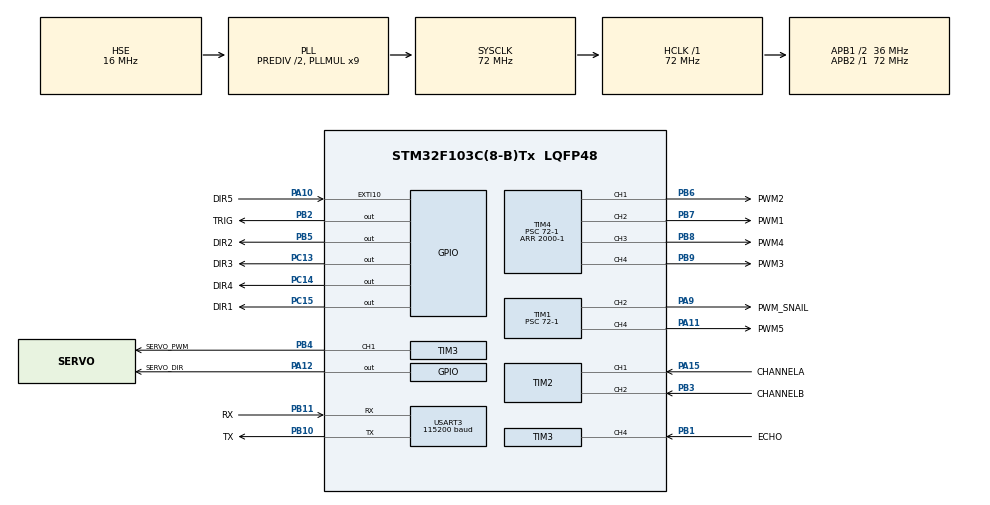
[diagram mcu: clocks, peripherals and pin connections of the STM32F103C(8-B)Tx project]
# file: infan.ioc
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Dma.Request0=USART3_RX
Dma.Request1=USART3_TX
Dma.USART3_RX.0.Direction=DMA_PERIPH_TO_MEMORY
Dma.USART3_RX.0.Instance=DMA1_Channel3
Dma.USART3_RX.0.MemDataAlignment=DMA_MDATAALIGN_BYTE
Dma.USART3_RX.0.MemInc=DMA_MINC_ENABLE
Dma.USART3_RX.0.Mode=DMA_NORMAL
Dma.USART3_RX.0.PeriphDataAlignment=DMA_PDATAALIGN_BYTE
Dma.USART3_RX.0.PeriphInc=DMA_PINC_DISABLE
Dma.USART3_RX.0.Priority=DMA_PRIORITY_LOW
Dma.USART3_TX.1.Direction=DMA_MEMORY_TO_PERIPH
Dma.USART3_TX.1.Instance=DMA1_Channel2
Dma.USART3_TX.1.MemDataAlignment=DMA_MDATAALIGN_BYTE
Dma.USART3_TX.1.MemInc=DMA_MINC_ENABLE
Dma.USART3_TX.1.Mode=DMA_NORMAL
Dma.USART3_TX.1.PeriphDataAlignment=DMA_PDATAALIGN_BYTE
Dma.USART3_TX.1.PeriphInc=DMA_PINC_DISABLE
Dma.USART3_TX.1.Priority=DMA_PRIORITY_LOW
Mcu.Family=STM32F1
Mcu.Name=STM32F103C(8-B)Tx
Mcu.Package=LQFP48
NVIC.DMA1_Channel2_IRQn=true\:0\:0\:false\:false\:true\:false\:true\:true
NVIC.DMA1_Channel3_IRQn=true\:0\:0\:false\:false\:true\:false\:true\:true
NVIC.PriorityGroup=NVIC_PRIORITYGROUP_4
PA10.GPIO_Label=DIR5
PA10.Signal=GPXTI10
PA11.GPIO_Label=PWM5
PA11.Signal=S_TIM1_CH4
PA12.GPIO_Label=SERVO_DIR
PA12.Signal=GPIO_Output
PA13.Mode=Serial_Wire
PA13.Signal=SYS_JTMS-SWDIO
PA14.Mode=Serial_Wire
PA14.Signal=SYS_JTCK-SWCLK
PA15.GPIO_Label=CHANNELA
PA15.Signal=S_TIM2_CH1_ETR
PA9.GPIO_Label=PWM_SNAIL
PA9.Signal=S_TIM1_CH2
PB1.GPIO_Label=ECHO
PB1.Signal=S_TIM3_CH4
PB10.GPIO_Label=TX
PB10.Mode=Asynchronous
PB10.Signal=USART3_TX
PB11.GPIO_Label=RX
PB11.Mode=Asynchronous
PB11.Signal=USART3_RX
PB2.GPIO_Label=TRIG
PB2.Signal=GPIO_Output
PB3.GPIO_Label=CHANNELB
PB3.Signal=S_TIM2_CH2
PB4.GPIO_Label=SERVO_PWM
PB4.Signal=S_TIM3_CH1
PB5.GPIO_Label=DIR2
PB5.Signal=GPIO_Output
PB6.GPIO_Label=PWM2
PB6.Signal=S_TIM4_CH1
PB7.GPIO_Label=PWM1
PB7.Signal=S_TIM4_CH2
PB8.GPIO_Label=PWM4
PB8.Signal=S_TIM4_CH3
PB9.GPIO_Label=PWM3
PB9.Signal=S_TIM4_CH4
PC13-TAMPER-RTC.GPIO_Label=DIR3
PC13-TAMPER-RTC.Signal=GPIO_Output
PC14-OSC32_IN.GPIO_Label=DIR4
PC14-OSC32_IN.Signal=GPIO_Output
PC15-OSC32_OUT.GPIO_Label=DIR1
PC15-OSC32_OUT.Signal=GPIO_Output
PD0-OSC_IN.Mode=HSE-External-Oscillator
PD0-OSC_IN.Signal=RCC_OSC_IN
PD1-OSC_OUT.Mode=HSE-External-Oscillator
PD1-OSC_OUT.Signal=RCC_OSC_OUT
ProjectManager.HeapSize=0x200
ProjectManager.StackSize=0x400
ProjectManager.TargetToolchain=MDK-ARM V5.32
RCC.AHBFreq_Value=72000000
RCC.APB1CLKDivider=RCC_HCLK_DIV2
RCC.APB1Freq_Value=36000000
RCC.APB1TimFreq_Value=72000000
RCC.APB2Freq_Value=72000000
RCC.APB2TimFreq_Value=72000000
RCC.HCLKFreq_Value=72000000
RCC.HSEDivPLL=RCC_HSE_PREDIV_DIV2
RCC.HSE_VALUE=16000000
RCC.PLLMUL=RCC_PLL_MUL9
RCC.PLLSourceVirtual=RCC_PLLSOURCE_HSE
RCC.SYSCLKFreq_VALUE=72000000
RCC.SYSCLKSource=RCC_SYSCLKSOURCE_PLLCLK
RCC.USBFreq_Value=72000000
SH.S_TIM1_CH2.0=TIM1_CH2,PWM Generation2 CH2
SH.S_TIM1_CH4.0=TIM1_CH4,PWM Generation4 CH4
SH.S_TIM2_CH1_ETR.0=TIM2_CH1,Encoder_Interface
SH.S_TIM2_CH2.0=TIM2_CH2,Encoder_Interface
SH.S_TIM3_CH1.0=TIM3_CH1,PWM Generation1 CH1
SH.S_TIM3_CH4.0=TIM3_CH4,Input_Capture4_from_TI4
SH.S_TIM4_CH1.0=TIM4_CH1,PWM Generation1 CH1
SH.S_TIM4_CH2.0=TIM4_CH2,PWM Generation2 CH2
SH.S_TIM4_CH3.0=TIM4_CH3,PWM Generation3 CH3
SH.S_TIM4_CH4.0=TIM4_CH4,PWM Generation4 CH4
TIM1.Channel-PWM\ Generation2\ CH2=TIM_CHANNEL_2
TIM1.Channel-PWM\ Generation4\ CH4=TIM_CHANNEL_4
TIM1.Period=2000-1
TIM1.Prescaler=72-1
TIM3.Channel-Input_Capture4_from_TI4=TIM_CHANNEL_4
TIM3.Channel-PWM\ Generation1\ CH1=TIM_CHANNEL_1
TIM3.Period=50-1
TIM3.Prescaler=72-1
TIM4.Channel-PWM\ Generation1\ CH1=TIM_CHANNEL_1
TIM4.Channel-PWM\ Generation2\ CH2=TIM_CHANNEL_2
TIM4.Channel-PWM\ Generation3\ CH3=TIM_CHANNEL_3
TIM4.Channel-PWM\ Generation4\ CH4=TIM_CHANNEL_4
TIM4.Period=2000-1
TIM4.Prescaler=72-1
USART3.BaudRate=115200
USART3.VirtualMode=VM_ASYNC
board=custom

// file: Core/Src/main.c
/* USER CODE BEGIN Header */
/**
  ******************************************************************************
  * @file           : main.c
  * @brief          : Main program body
  ******************************************************************************
  * @attention
  *
  * Copyright (c) 2025 STMicroelectronics.
  * All rights reserved.
  *
  * This software is licensed under terms that can be found in the LICENSE file
  * in the root directory of this software component.
  * If no LICENSE file comes with this software, it is provided AS-IS.
  *
  ******************************************************************************
  */
/* USER CODE END Header */
#include "main.h"
#include "dma.h"
#include "tim.h"
#include "usart.h"
#include "gpio.h"

/* USER CODE BEGIN PV */
uint16_t speed = 2000;    // 电机1速度
// uint16_t speed2 = 0;    // 电机2速度
// uint16_t speed3 = 0;    // 电机3速度
// uint16_t speed4 = 0;    // 电机4速度
uint16_t speed5 = 1999;    // 电机5速度
uint16_t speed_snail = 0;   // snail电机速度

/* 电机方向变量初始化 */
uint8_t dirs;
GPIO_PinState dir1 = GPIO_PIN_RESET;    // 电机1方向
GPIO_PinState dir2 = GPIO_PIN_RESET;    // 电机2方向
GPIO_PinState dir3 = GPIO_PIN_RESET;    // 电机3方向
GPIO_PinState dir4 = GPIO_PIN_RESET;    // 电机4方向
/* USER CODE END PV */

void SystemClock_Config(void);

/* USER CODE BEGIN 0 */
void tim_start()
{
  HAL_TIM_Base_Start_IT(&htim3);
  HAL_TIM_Base_Start(&htim1);
  HAL_TIM_Base_Start(&htim2);
  HAL_TIM_Base_Start(&htim4);
  HAL_TIM_PWM_Start(&htim1, TIM_CHANNEL_2);
  HAL_TIM_PWM_Start(&htim1, TIM_CHANNEL_4);
  HAL_TIM_PWM_Start(&htim3, TIM_CHANNEL_1);
  HAL_TIM_PWM_Start(&htim4, TIM_CHANNEL_1);
  HAL_TIM_PWM_Start(&htim4, TIM_CHANNEL_4);
  HAL_TIM_PWM_Start(&htim4, TIM_CHANNEL_3);
  HAL_TIM_PWM_Start(&htim4, TIM_CHANNEL_2);
};

void Motor_Control()
    {

        __HAL_TIM_SET_COMPARE(&htim1,TIM_CHANNEL_2,800);
			  if(speed_snail != 0){

					__HAL_TIM_SET_COMPARE(&htim1,TIM_CHANNEL_2,800);
					// 第一段延时300ms
          uint32_t startTime = HAL_GetTick();
          while(HAL_GetTick() - startTime < 300) {
          // 检查speed_snail是否变为0
            if(speed_snail == 0) {
            // 如果变为0，立即退出延时
            //__HAL_TIM_SET_COMPARE(&htim1,TIM_CHANNEL_2,0); // 或其他需要的值
            break;
          }
          // 可以添加一个小延时以减少CPU负担
          HAL_Delay(1);
        }

        // 只有在speed_snail仍然不为0时才继续第二段延时
        if(speed_snail != 0) {
          __HAL_TIM_SET_COMPARE(&htim1,TIM_CHANNEL_2,1400);

          // 第二段延时10000ms
          startTime = HAL_GetTick();
          while(HAL_GetTick() - startTime < 10000) {
            // 检查speed_snail是否变为0
            if(speed_snail == 0) {
                // 如果变为0，立即退出延时
                //__HAL_TIM_SET_COMPARE(&htim1,TIM_CHANNEL_2,0); // 或其他需要的值
                break;
            }
            // 可以添加一个小延时以减少CPU负担
            HAL_Delay(1);
          }
        }

				}
        __HAL_TIM_SET_COMPARE(&htim1,TIM_CHANNEL_2,800);
        //__HAL_TIM_SetCompare(&htim1,TIM_CHANNEL_2,speed_snail);
        //__HAL_TIM_SetCompare(&htim3,TIM_CHANNEL_1,pid.Get_Out());
        // HAL_GPIO_WritePin(SERVO_DIR_GPIO_Port,SERVO_DIR_Pin,angle_servo);
        //pid.TIM_Adjust_PeriodElapsedCallback();
    }
/* USER CODE END 0 */

int main(void)
{

  /* MCU Configuration--------------------------------------------------------*/

  /* Reset of all peripherals, Initializes the Flash interface and the Systick. */
  HAL_Init();

  /* Configure the system clock */
  SystemClock_Config();

  /* Initialize all configured peripherals */
  MX_GPIO_Init();
  MX_DMA_Init();
  MX_TIM1_Init();
  MX_TIM2_Init();
  MX_TIM3_Init();
  MX_TIM4_Init();
  MX_USART3_UART_Init();
  /* USER CODE BEGIN 2 */
  tim_start();
  UART_DMA_Start_Receive();
  __HAL_TIM_SetCompare(&htim1,TIM_CHANNEL_4,speed5);

  __HAL_TIM_SetCompare(&htim4,TIM_CHANNEL_2,speed);
  HAL_GPIO_WritePin(DIR1_GPIO_Port,DIR1_Pin,dir1);
  __HAL_TIM_SetCompare(&htim4,TIM_CHANNEL_1,speed);
  HAL_GPIO_WritePin(DIR2_GPIO_Port,DIR2_Pin,dir2);
  __HAL_TIM_SetCompare(&htim4,TIM_CHANNEL_4,speed);
  HAL_GPIO_WritePin(DIR3_GPIO_Port,DIR3_Pin,dir3);
  __HAL_TIM_SetCompare(&htim4,TIM_CHANNEL_3,speed);
  HAL_GPIO_WritePin(DIR4_GPIO_Port,DIR4_Pin,dir4);
  __HAL_TIM_SET_COMPARE(&htim1,TIM_CHANNEL_2,800);
  __HAL_TIM_SetCompare(&htim1,TIM_CHANNEL_4,speed5);
  HAL_GPIO_WritePin(DIR5_GPIO_Port,DIR5_Pin,GPIO_PIN_SET);
  /* USER CODE END 2 */

  /* Infinite loop */
  while (1)
  {

    /* USER CODE BEGIN 3 */
    Motor_Control();
  }
  /* USER CODE END 3 */
}

void SystemClock_Config(void)
{
  RCC_OscInitTypeDef RCC_OscInitStruct = {0};
  RCC_ClkInitTypeDef RCC_ClkInitStruct = {0};

  /** Initializes the RCC Oscillators according to the specified parameters
  * in the RCC_OscInitTypeDef structure.
  */
  RCC_OscInitStruct.OscillatorType = RCC_OSCILLATORTYPE_HSE;
  RCC_OscInitStruct.HSEState = RCC_HSE_ON;
  RCC_OscInitStruct.HSEPredivValue = RCC_HSE_PREDIV_DIV2;
  RCC_OscInitStruct.HSIState = RCC_HSI_ON;
  RCC_OscInitStruct.PLL.PLLState = RCC_PLL_ON;
  RCC_OscInitStruct.PLL.PLLSource = RCC_PLLSOURCE_HSE;
  RCC_OscInitStruct.PLL.PLLMUL = RCC_PLL_MUL9;
  if (HAL_RCC_OscConfig(&RCC_OscInitStruct) != HAL_OK)
  {
    Error_Handler();
  }

  /** Initializes the CPU, AHB and APB buses clocks
  */
  RCC_ClkInitStruct.ClockType = RCC_CLOCKTYPE_HCLK|RCC_CLOCKTYPE_SYSCLK
                              |RCC_CLOCKTYPE_PCLK1|RCC_CLOCKTYPE_PCLK2;
  RCC_ClkInitStruct.SYSCLKSource = RCC_SYSCLKSOURCE_PLLCLK;
  RCC_ClkInitStruct.AHBCLKDivider = RCC_SYSCLK_DIV1;
  RCC_ClkInitStruct.APB1CLKDivider = RCC_HCLK_DIV2;
  RCC_ClkInitStruct.APB2CLKDivider = RCC_HCLK_DIV1;

  if (HAL_RCC_ClockConfig(&RCC_ClkInitStruct, FLASH_LATENCY_2) != HAL_OK)
  {
    Error_Handler();
  }
}

void Error_Handler(void)
{
  __disable_irq();
  while (1)
  {
  }
}
